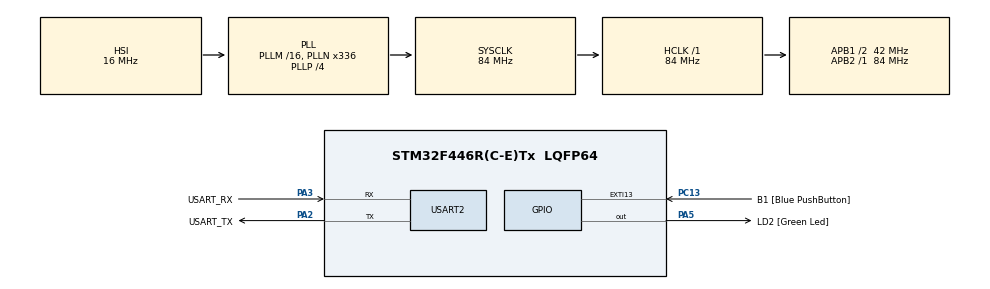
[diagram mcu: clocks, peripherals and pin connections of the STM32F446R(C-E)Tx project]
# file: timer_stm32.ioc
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Mcu.Family=STM32F4
Mcu.Name=STM32F446R(C-E)Tx
Mcu.Package=LQFP64
NVIC.PriorityGroup=NVIC_PRIORITYGROUP_0
PA13.GPIO_Label=TMS
PA13.Mode=Serial_Wire
PA13.Signal=SYS_JTMS-SWDIO
PA14.GPIO_Label=TCK
PA14.Mode=Serial_Wire
PA14.Signal=SYS_JTCK-SWCLK
PA2.GPIO_Label=USART_TX
PA2.Mode=Asynchronous
PA2.Signal=USART2_TX
PA3.GPIO_Label=USART_RX
PA3.Mode=Asynchronous
PA3.Signal=USART2_RX
PA5.GPIO_Label=LD2 [Green Led]
PA5.Signal=GPIO_Output
PB3.GPIO_Label=SWO
PB3.Signal=SYS_JTDO-SWO
PC13.GPIO_Label=B1 [Blue PushButton]
PC13.GPIO_ModeDefaultEXTI=GPIO_MODE_IT_FALLING
PC13.Signal=GPXTI13
PC14-OSC32_IN.Mode=LSE-External-Oscillator
PC14-OSC32_IN.Signal=RCC_OSC32_IN
PC15-OSC32_OUT.Mode=LSE-External-Oscillator
PC15-OSC32_OUT.Signal=RCC_OSC32_OUT
PH0-OSC_IN.Mode=HSE-External-Oscillator
PH0-OSC_IN.Signal=RCC_OSC_IN
PH1-OSC_OUT.Mode=HSE-External-Oscillator
PH1-OSC_OUT.Signal=RCC_OSC_OUT
ProjectManager.HeapSize=0x200
ProjectManager.StackSize=0x400
ProjectManager.TargetToolchain=STM32CubeIDE
RCC.48MHZClocksFreq_Value=84000000
RCC.AHBFreq_Value=84000000
RCC.APB1CLKDivider=RCC_HCLK_DIV2
RCC.APB1Freq_Value=42000000
RCC.APB1TimFreq_Value=84000000
RCC.APB2Freq_Value=84000000
RCC.APB2TimFreq_Value=84000000
RCC.CortexFreq_Value=84000000
RCC.FLatency-AdvancedSettings=FLASH_LATENCY_2
RCC.HCLKFreq_Value=84000000
RCC.HSE_VALUE=8000000
RCC.HSI_VALUE=16000000
RCC.PLLN=336
RCC.PLLP=RCC_PLLP_DIV4
RCC.SYSCLKFreq_VALUE=84000000
RCC.SYSCLKSource=RCC_SYSCLKSOURCE_PLLCLK
RCC.USBFreq_Value=168000000
RCC.VCOOutputFreq_Value=336000000
USART2.VirtualMode=VM_ASYNC
board=NUCLEO-F446RE

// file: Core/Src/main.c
/* USER CODE BEGIN Header */
/**
  ******************************************************************************
  * @file           : main.c
  * @brief          : Main program body
  ******************************************************************************
  * @attention
  *
  * Copyright (c) 2026 STMicroelectronics.
  * All rights reserved.
  *
  * This software is licensed under terms that can be found in the LICENSE file
  * in the root directory of this software component.
  * If no LICENSE file comes with this software, it is provided AS-IS.
  *
  ******************************************************************************
  */
/* USER CODE END Header */
#include "main.h"

UART_HandleTypeDef huart2;

void SystemClock_Config(void);
static void MX_GPIO_Init(void);
static void MX_USART2_UART_Init(void);

/* USER CODE BEGIN 0 */
volatile uint8_t time_elapsed = 0;

void TIM6_DAC_IRQHandler() {
	if((TIM6->SR >> TIM_SR_UIF_Pos) & 0x01) {
		NVIC_ClearPendingIRQ(TIM6_DAC_IRQn);
		time_elapsed = 1;
		TIM6->SR &= ~(1 << TIM_SR_UIF_Pos);
	}
}

void TIM6_basic_setup() {

	RCC->APB1ENR |= (1 << RCC_APB1ENR_TIM6EN_Pos); 		// Clock to TIM6

	TIM6->CR1 &= ~(1 << TIM_CR1_UDIS_Pos); 		// Update event enable
	TIM6->CR1 |= (1 << TIM_CR1_URS_Pos);		// Update event generated only by overflow/underflow
	TIM6->CR1 |= (1 << TIM_CR1_ARPE_Pos); 		// Auto reload preload enabled

	TIM6->PSC = 84000 - 1; 						// CNT incremented every millisecond
	TIM6->ARR = 4 - 1; 							// Update event every 4 milliseconds

	TIM6->DIER |= (1 << TIM_DIER_UIE_Pos); 		// Trigger an interrupt every update event

	TIM3->EGR |= (1 << TIM_EGR_UG_Pos); 		// Fire an update event to update shadow registers

	NVIC_EnableIRQ(TIM6_DAC_IRQn);				// Enable interrupt for TIM6
	NVIC_SetPriority(TIM6_DAC_IRQn, 0); 		// Set Priority
}

void TIM3_PWM_setup() {
	/* GPIO SetUp (PA6 -> TIM3_CH1) */
	RCC->AHB1ENR |= (1 << RCC_AHB1ENR_GPIOAEN_Pos);		// Enable GPIO6
	GPIOA->MODER |= (2 << 12); 							// Alternate function mode
	GPIOA->AFR[0] = (2 << 24); 							// Alternate function n2 for PA6 (TIM3 CH1)
	GPIOA->OSPEEDR 	|= (3 << 12);  						// High Speed for PIN PA6

	/* TIM3 SetUp */
	RCC->APB1ENR |= (1 << RCC_APB1ENR_TIM3EN_Pos); 		// Clock to TIM3

	/* CR1 Configuration */
	TIM3->CR1 &= ~(1 << TIM_CR1_UDIS_Pos); 		// Update event enabled
	TIM3->CR1 &= ~(1 << TIM_CR1_URS_Pos);		// Update event generated by any source
	TIM3->CR1 &= (1 << TIM_CR1_DIR_Pos); 		// Upcounting direction
	TIM3->CR1 &= (0x03 << TIM_CR1_CMS_Pos); 	// (00) Edge aligned mode
	TIM3->CR1 |= (1 << TIM_CR1_ARPE_Pos); 		// Auto reload preload enabled

	TIM3->CCMR1 &= ~(0x03 << TIM_CCMR1_CC1S_Pos); 	// TIM3_CH1 configured as output
	TIM3->CCMR1 |= (1 << TIM_CCMR1_OC1PE_Pos); 		// Preload CCR1 register aswell
	TIM3->CCMR1 |= (0x6 << TIM_CCMR1_OC1M_Pos); 	// PWM Mode 1

	TIM3->CCER |= (1 << TIM_CCER_CC1E_Pos); 				// Enable output channel 1
	TIM3->CCER |= (1 << TIM_CCER_CC1P_Pos); 				// Active low

	TIM3->PSC = 84 - 1; 						// CNT incremented every micro second
	TIM3->ARR = 1000 - 1; 						// Update event every millisecond
	TIM3->CCR1 = 1 - 1;

	TIM3->EGR |= (1 << TIM_EGR_UG_Pos); 		// Fire an update event to update shadow registers
}
/* USER CODE END 0 */

int main(void)
{

  /* MCU Configuration--------------------------------------------------------*/

  /* Reset of all peripherals, Initializes the Flash interface and the Systick. */
  HAL_Init();

  /* Configure the system clock */
  SystemClock_Config();

  /* USER CODE BEGIN SysInit */
  TIM6_basic_setup();
   TIM3_PWM_setup();
  /* USER CODE END SysInit */

  /* Initialize all configured peripherals */
  MX_GPIO_Init();
  MX_USART2_UART_Init();
  /* USER CODE BEGIN 2 */
  //GPIOA->MODER |= (1 << GPIO_MODER_MODE0_Pos);

  TIM6->CR1 |= (1 << TIM_CR1_CEN_Pos);
  TIM3->CR1 |= (1 << TIM_CR1_CEN_Pos);
  uint8_t dir = 1;
  /* USER CODE END 2 */

  /* Infinite loop */
  while (1)
  {

    /* USER CODE BEGIN 3 */
	  if(time_elapsed) {
		  //GPIOA->ODR ^= (1 << 0);
		  if(dir == 0) {
			  TIM3->CCR1 = TIM3->CCR1 - 1;
			  if(TIM3->CCR1 == 0)
				  dir = 1;
		  } else {
			  TIM3->CCR1 = TIM3->CCR1 + 1;
			  if(TIM3->CCR1 == TIM3->ARR)
				  dir = 0;
		  }
		  time_elapsed = 0;
	  }
  }
  /* USER CODE END 3 */
}

void SystemClock_Config(void)
{
  RCC_OscInitTypeDef RCC_OscInitStruct = {0};
  RCC_ClkInitTypeDef RCC_ClkInitStruct = {0};

  /** Configure the main internal regulator output voltage
  */
  __HAL_RCC_PWR_CLK_ENABLE();
  __HAL_PWR_VOLTAGESCALING_CONFIG(PWR_REGULATOR_VOLTAGE_SCALE3);

  /** Initializes the RCC Oscillators according to the specified parameters
  * in the RCC_OscInitTypeDef structure.
  */
  RCC_OscInitStruct.OscillatorType = RCC_OSCILLATORTYPE_HSI;
  RCC_OscInitStruct.HSIState = RCC_HSI_ON;
  RCC_OscInitStruct.HSICalibrationValue = RCC_HSICALIBRATION_DEFAULT;
  RCC_OscInitStruct.PLL.PLLState = RCC_PLL_ON;
  RCC_OscInitStruct.PLL.PLLSource = RCC_PLLSOURCE_HSI;
  RCC_OscInitStruct.PLL.PLLM = 16;
  RCC_OscInitStruct.PLL.PLLN = 336;
  RCC_OscInitStruct.PLL.PLLP = RCC_PLLP_DIV4;
  RCC_OscInitStruct.PLL.PLLQ = 2;
  RCC_OscInitStruct.PLL.PLLR = 2;
  if (HAL_RCC_OscConfig(&RCC_OscInitStruct) != HAL_OK)
  {
    Error_Handler();
  }

  /** Initializes the CPU, AHB and APB buses clocks
  */
  RCC_ClkInitStruct.ClockType = RCC_CLOCKTYPE_HCLK|RCC_CLOCKTYPE_SYSCLK
                              |RCC_CLOCKTYPE_PCLK1|RCC_CLOCKTYPE_PCLK2;
  RCC_ClkInitStruct.SYSCLKSource = RCC_SYSCLKSOURCE_PLLCLK;
  RCC_ClkInitStruct.AHBCLKDivider = RCC_SYSCLK_DIV1;
  RCC_ClkInitStruct.APB1CLKDivider = RCC_HCLK_DIV2;
  RCC_ClkInitStruct.APB2CLKDivider = RCC_HCLK_DIV1;

  if (HAL_RCC_ClockConfig(&RCC_ClkInitStruct, FLASH_LATENCY_2) != HAL_OK)
  {
    Error_Handler();
  }
}

static void MX_USART2_UART_Init(void)
{

  huart2.Instance = USART2;
  huart2.Init.BaudRate = 115200;
  huart2.Init.WordLength = UART_WORDLENGTH_8B;
  huart2.Init.StopBits = UART_STOPBITS_1;
  huart2.Init.Parity = UART_PARITY_NONE;
  huart2.Init.Mode = UART_MODE_TX_RX;
  huart2.Init.HwFlowCtl = UART_HWCONTROL_NONE;
  huart2.Init.OverSampling = UART_OVERSAMPLING_16;
  if (HAL_UART_Init(&huart2) != HAL_OK)
  {
    Error_Handler();
  }

}

static void MX_GPIO_Init(void)
{
  GPIO_InitTypeDef GPIO_InitStruct = {0};

  /* GPIO Ports Clock Enable */
  __HAL_RCC_GPIOC_CLK_ENABLE();
  __HAL_RCC_GPIOH_CLK_ENABLE();
  __HAL_RCC_GPIOA_CLK_ENABLE();
  __HAL_RCC_GPIOB_CLK_ENABLE();

  /*Configure GPIO pin Output Level */
  HAL_GPIO_WritePin(LD2_GPIO_Port, LD2_Pin, GPIO_PIN_RESET);

  /*Configure GPIO pin : B1_Pin */
  GPIO_InitStruct.Pin = B1_Pin;
  GPIO_InitStruct.Mode = GPIO_MODE_IT_FALLING;
  GPIO_InitStruct.Pull = GPIO_NOPULL;
  HAL_GPIO_Init(B1_GPIO_Port, &GPIO_InitStruct);

  /*Configure GPIO pin : LD2_Pin */
  GPIO_InitStruct.Pin = LD2_Pin;
  GPIO_InitStruct.Mode = GPIO_MODE_OUTPUT_PP;
  GPIO_InitStruct.Pull = GPIO_NOPULL;
  GPIO_InitStruct.Speed = GPIO_SPEED_FREQ_LOW;
  HAL_GPIO_Init(LD2_GPIO_Port, &GPIO_InitStruct);

}

void Error_Handler(void)
{
  __disable_irq();
  while (1)
  {
  }
}
